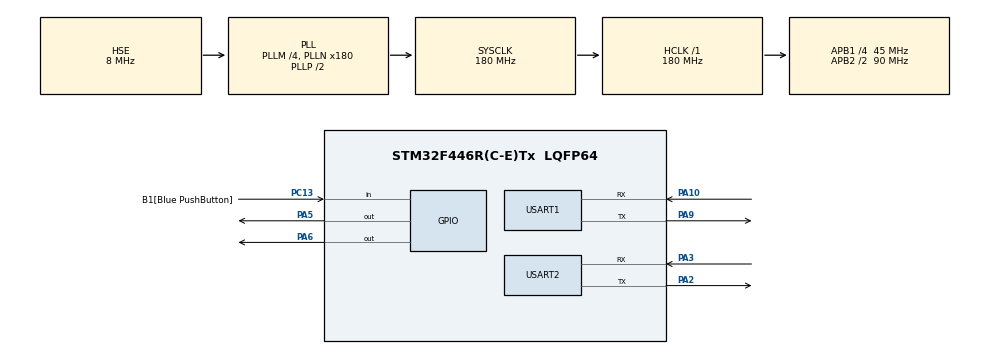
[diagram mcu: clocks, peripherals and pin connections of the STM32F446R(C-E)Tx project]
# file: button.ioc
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Mcu.Family=STM32F4
Mcu.Name=STM32F446R(C-E)Tx
Mcu.Package=LQFP64
NVIC.PriorityGroup=NVIC_PRIORITYGROUP_0
PA10.Mode=Asynchronous
PA10.Signal=USART1_RX
PA2.Mode=Asynchronous
PA2.Signal=USART2_TX
PA3.Mode=Asynchronous
PA3.Signal=USART2_RX
PA5.Signal=GPIO_Output
PA6.Signal=GPIO_Output
PA9.Mode=Asynchronous
PA9.Signal=USART1_TX
PC13.GPIO_Label=B1[Blue PushButton]
PC13.Signal=GPIO_Input
PH0-OSC_IN.Mode=HSE-External-Oscillator
PH0-OSC_IN.Signal=RCC_OSC_IN
PH1-OSC_OUT.Mode=HSE-External-Oscillator
PH1-OSC_OUT.Signal=RCC_OSC_OUT
ProjectManager.HeapSize=0x200
ProjectManager.StackSize=0x400
ProjectManager.TargetToolchain=STM32CubeIDE
RCC.48MHZClocksFreq_Value=84000000
RCC.AHBFreq_Value=180000000
RCC.APB1CLKDivider=RCC_HCLK_DIV4
RCC.APB1Freq_Value=45000000
RCC.APB1TimFreq_Value=90000000
RCC.APB2CLKDivider=RCC_HCLK_DIV2
RCC.APB2Freq_Value=90000000
RCC.APB2TimFreq_Value=180000000
RCC.CortexFreq_Value=180000000
RCC.FLatency-AdvancedSettings=FLASH_LATENCY_5
RCC.HCLKFreq_Value=180000000
RCC.HSE_VALUE=8000000
RCC.HSI_VALUE=16000000
RCC.PLLM=4
RCC.PLLN=180
RCC.PLLSourceVirtual=RCC_PLLSOURCE_HSE
RCC.SYSCLKFreq_VALUE=180000000
RCC.SYSCLKSource=RCC_SYSCLKSOURCE_PLLCLK
RCC.USBFreq_Value=180000000
RCC.VCOOutputFreq_Value=360000000
USART1.VirtualMode=VM_ASYNC
USART2.VirtualMode=VM_ASYNC
board=NUCLEO-F446RE

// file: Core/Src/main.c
/* USER CODE BEGIN Header */
/**
  ******************************************************************************
  * @file           : main.c
  * @brief          : Main program body
  ******************************************************************************
  * @attention
  *
  * Copyright (c) 2022 STMicroelectronics.
  * All rights reserved.
  *
  * This software is licensed under terms that can be found in the LICENSE file
  * in the root directory of this software component.
  * If no LICENSE file comes with this software, it is provided AS-IS.
  *
  ******************************************************************************
  */
/* USER CODE END Header */
#include "main.h"

/* USER CODE BEGIN Includes */
#include "stdio.h"
#include "string.h"
/* USER CODE END Includes */

 UART_HandleTypeDef huart1;
UART_HandleTypeDef huart2;

void SystemClock_Config(void);
static void MX_GPIO_Init(void);
static void MX_USART2_UART_Init(void);
static void MX_USART1_UART_Init(void);

/* USER CODE BEGIN 0 */
/* USER CODE BEGIN 0 */
//Use Printf To Send UART Block BEGIN
#ifdef __GNUC__
  /* With GCC/RAISONANCE, small printf (option LD Linker->Libraries->Small printf
     set to 'Yes') calls __io_putchar() */
  #define PUTCHAR_PROTOTYPE int __io_putchar(int ch)
#else
  #define PUTCHAR_PROTOTYPE int fputc(int ch, FILE *f)
#endif /* __GNUC__ */

PUTCHAR_PROTOTYPE
{
  /* Place your implementation of fputc here */
  /* e.g. write a character to the EVAL_COM1 and Loop until the end of transmission */
  HAL_UART_Transmit(&huart2, (uint8_t *)&ch, 1, 0xFFFF);
  return ch;
}
//Use Printf To Send UART Block END
int count = 0;
/* USER CODE END 0 */

int main(void)
{

  /* MCU Configuration--------------------------------------------------------*/

  /* Reset of all peripherals, Initializes the Flash interface and the Systick. */
  HAL_Init();

  /* Configure the system clock */
  SystemClock_Config();

  /* Initialize all configured peripherals */
  MX_GPIO_Init();
  MX_USART2_UART_Init();
  MX_USART1_UART_Init();
  /* USER CODE BEGIN 2 */
  uint8_t button_val = 0;
  /* USER CODE END 2 */

  /* Infinite loop */
  while (1)
  {

    /* USER CODE BEGIN 3 */
	//read status of the GPIO button pin
	button_val = HAL_GPIO_ReadPin(B1_GPIO_Port,B1_Pin);

	if(button_val==0){
		//if pressed - turn LED on
		HAL_GPIO_WritePin(GPIOA,GPIO_PIN_5,SET);
	}
	else{
		HAL_GPIO_WritePin(GPIOA,GPIO_PIN_5,RESET);
	}// end if

  }//end while(1)
  /* USER CODE END 3 */
}//end main

void SystemClock_Config(void)
{
  RCC_OscInitTypeDef RCC_OscInitStruct = {0};
  RCC_ClkInitTypeDef RCC_ClkInitStruct = {0};

  /** Configure the main internal regulator output voltage
  */
  __HAL_RCC_PWR_CLK_ENABLE();
  __HAL_PWR_VOLTAGESCALING_CONFIG(PWR_REGULATOR_VOLTAGE_SCALE1);

  /** Initializes the RCC Oscillators according to the specified parameters
  * in the RCC_OscInitTypeDef structure.
  */
  RCC_OscInitStruct.OscillatorType = RCC_OSCILLATORTYPE_HSE;
  RCC_OscInitStruct.HSEState = RCC_HSE_ON;
  RCC_OscInitStruct.PLL.PLLState = RCC_PLL_ON;
  RCC_OscInitStruct.PLL.PLLSource = RCC_PLLSOURCE_HSE;
  RCC_OscInitStruct.PLL.PLLM = 4;
  RCC_OscInitStruct.PLL.PLLN = 180;
  RCC_OscInitStruct.PLL.PLLP = RCC_PLLP_DIV2;
  RCC_OscInitStruct.PLL.PLLQ = 2;
  RCC_OscInitStruct.PLL.PLLR = 2;
  if (HAL_RCC_OscConfig(&RCC_OscInitStruct) != HAL_OK)
  {
    Error_Handler();
  }

  /** Activate the Over-Drive mode
  */
  if (HAL_PWREx_EnableOverDrive() != HAL_OK)
  {
    Error_Handler();
  }

  /** Initializes the CPU, AHB and APB buses clocks
  */
  RCC_ClkInitStruct.ClockType = RCC_CLOCKTYPE_HCLK|RCC_CLOCKTYPE_SYSCLK
                              |RCC_CLOCKTYPE_PCLK1|RCC_CLOCKTYPE_PCLK2;
  RCC_ClkInitStruct.SYSCLKSource = RCC_SYSCLKSOURCE_PLLCLK;
  RCC_ClkInitStruct.AHBCLKDivider = RCC_SYSCLK_DIV1;
  RCC_ClkInitStruct.APB1CLKDivider = RCC_HCLK_DIV4;
  RCC_ClkInitStruct.APB2CLKDivider = RCC_HCLK_DIV2;

  if (HAL_RCC_ClockConfig(&RCC_ClkInitStruct, FLASH_LATENCY_5) != HAL_OK)
  {
    Error_Handler();
  }
}

static void MX_USART1_UART_Init(void)
{

  huart1.Instance = USART1;
  huart1.Init.BaudRate = 115200;
  huart1.Init.WordLength = UART_WORDLENGTH_8B;
  huart1.Init.StopBits = UART_STOPBITS_1;
  huart1.Init.Parity = UART_PARITY_NONE;
  huart1.Init.Mode = UART_MODE_TX_RX;
  huart1.Init.HwFlowCtl = UART_HWCONTROL_NONE;
  huart1.Init.OverSampling = UART_OVERSAMPLING_16;
  if (HAL_UART_Init(&huart1) != HAL_OK)
  {
    Error_Handler();
  }

}

static void MX_USART2_UART_Init(void)
{

  huart2.Instance = USART2;
  huart2.Init.BaudRate = 115200;
  huart2.Init.WordLength = UART_WORDLENGTH_8B;
  huart2.Init.StopBits = UART_STOPBITS_1;
  huart2.Init.Parity = UART_PARITY_NONE;
  huart2.Init.Mode = UART_MODE_TX_RX;
  huart2.Init.HwFlowCtl = UART_HWCONTROL_NONE;
  huart2.Init.OverSampling = UART_OVERSAMPLING_16;
  if (HAL_UART_Init(&huart2) != HAL_OK)
  {
    Error_Handler();
  }

}

static void MX_GPIO_Init(void)
{
  GPIO_InitTypeDef GPIO_InitStruct = {0};

  /* GPIO Ports Clock Enable */
  __HAL_RCC_GPIOC_CLK_ENABLE();
  __HAL_RCC_GPIOH_CLK_ENABLE();
  __HAL_RCC_GPIOA_CLK_ENABLE();

  /*Configure GPIO pin Output Level */
  HAL_GPIO_WritePin(GPIOA, GPIO_PIN_5|GPIO_PIN_6, GPIO_PIN_RESET);

  /*Configure GPIO pin : B1_Pin */
  GPIO_InitStruct.Pin = B1_Pin;
  GPIO_InitStruct.Mode = GPIO_MODE_INPUT;
  GPIO_InitStruct.Pull = GPIO_NOPULL;
  HAL_GPIO_Init(B1_GPIO_Port, &GPIO_InitStruct);

  /*Configure GPIO pins : PA5 PA6 */
  GPIO_InitStruct.Pin = GPIO_PIN_5|GPIO_PIN_6;
  GPIO_InitStruct.Mode = GPIO_MODE_OUTPUT_PP;
  GPIO_InitStruct.Pull = GPIO_NOPULL;
  GPIO_InitStruct.Speed = GPIO_SPEED_FREQ_LOW;
  HAL_GPIO_Init(GPIOA, &GPIO_InitStruct);

}

void Error_Handler(void)
{
  __disable_irq();
  while (1)
  {
  }
}
